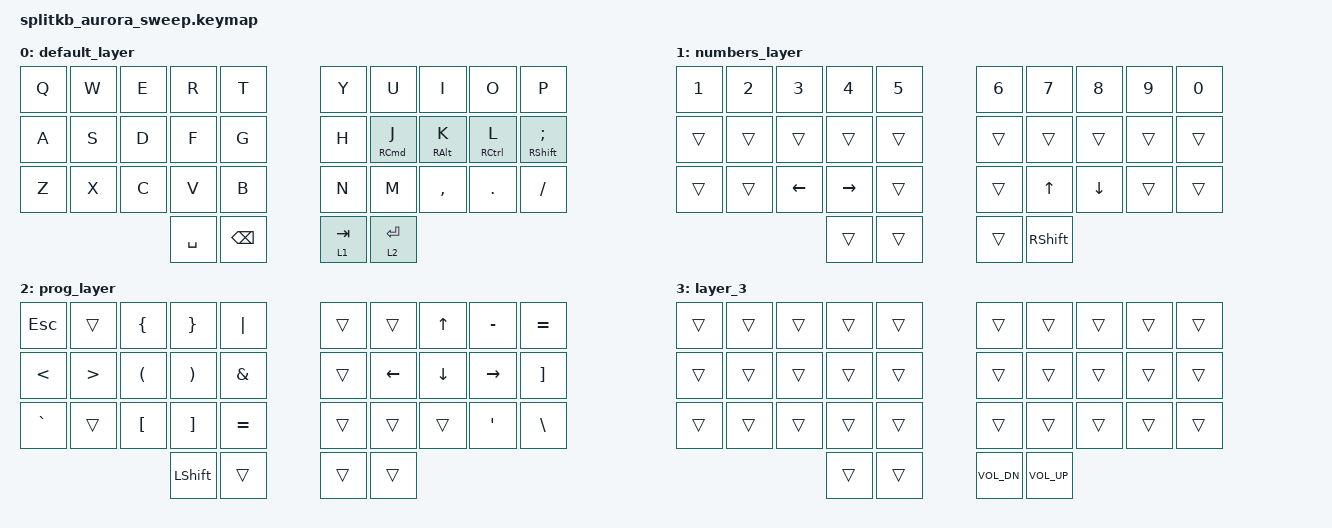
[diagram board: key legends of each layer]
/*
 * Copyright (c) 2022 The ZMK Contributors
 *
 * SPDX-License-Identifier: MIT
 */

#include <behaviors.dtsi>
#include <dt-bindings/zmk/keys.h>
#include <dt-bindings/zmk/keys.h>

&mt {
    //  flavor = "tap-preferred";
    // tapping-term-ms = <200>;

    tapping-term-ms = <500>;
};

/ {
    combos {
        compatible = "zmk,combos";

        combo_esc {
            timeout-ms = <50>;
            key-positions = <0 1>;
            bindings = <&kp ESC>;
        };

        combo_rcmd {
            timeout-ms = <50>;
            key-positions = <17 16>;
            bindings = <&kp RIGHT_COMMAND>;
        };

        combo_lcmd {
            timeout-ms = <50>;
            key-positions = <11 12>;
            bindings = <&kp LEFT_COMMAND>;
        };

        combo_loption {
            timeout-ms = <50>;
            key-positions = <12 13>;
            bindings = <&kp LEFT_ALT>;
        };

        combo_roption {
            timeout-ms = <50>;
            key-positions = <17 18>;
            bindings = <&kp RIGHT_ALT>;
        };

        combo_rcontrol {
            bindings = <&kp RIGHT_CONTROL>;
            key-positions = <18 19>;
        };

        combo_lcontrol {
            bindings = <&kp LEFT_CONTROL>;
            key-positions = <10 11>;
        };

        combo_lshift {
            bindings = <&kp LEFT_SHIFT>;
            key-positions = <20 21>;
        };

        combo_rshift {
            bindings = <&kp RIGHT_SHIFT>;
            key-positions = <29 28>;
        };

        combo_toggle1 {
            bindings = <&tog 1>;
            key-positions = <5 6>;
        };

        combo_layer2 {
            bindings = <&tog 0>;
            key-positions = <6 7>;
        };

        combo_raltcmd {
            bindings = <&kt RG(RIGHT_ALT)>;
            key-positions = <16 17 18>;
        };
    };

    keymap {
        compatible = "zmk,keymap";

        default_layer {
            bindings = <
&kp Q      &kp W          &kp E  &kp R  &kp T    &kp Y  &kp U                &kp I            &kp O        &kp P
&kp A      &kp S          &kp D  &kp F  &kp G    &kp H  &mt RIGHT_COMMAND J  &mt RIGHT_ALT K  &mt RCTRL L  &mt RIGHT_SHIFT SEMICOLON
&kp Z      &kp X          &kp C  &kp V  &kp B    &kp N  &kp M                &kp COMMA        &kp DOT      &kp SLASH
&kp SPACE  &kp BACKSPACE                                                                      &lt 1 TAB    &lt 2 RETURN
            >;
        };

        numbers_layer {
            bindings = <
&kp N1  &kp N2  &kp N3    &kp N4     &kp N5    &kp N6  &kp N7        &kp N8    &kp N9  &kp N0
&trans  &trans  &trans    &trans     &trans    &trans  &trans        &trans    &trans  &trans
&trans  &trans  &kp LEFT  &kp RIGHT  &trans    &trans  &kp UP_ARROW  &kp DOWN  &trans  &trans
&trans  &trans                                                                 &trans  &kp RIGHT_SHIFT
            >;
        };

        prog_layer {
            bindings = <
&kp ESCAPE      &trans            &kp LEFT_BRACE        &kp RIGHT_BRACE        &kp PIPE         &trans  &trans    &kp UP    &kp MINUS  &kp EQUAL
&kp LESS_THAN   &kp GREATER_THAN  &kp LEFT_PARENTHESIS  &kp RIGHT_PARENTHESIS  &kp AMPERSAND    &trans  &kp LEFT  &kp DOWN  &kp RIGHT  &kp RIGHT_BRACKET
&kp GRAVE       &trans            &kp LEFT_BRACKET      &kp RIGHT_BRACKET      &kp EQUAL        &trans  &trans    &trans    &kp SQT    &kp BACKSLASH
&kp LEFT_SHIFT  &trans                                                                                                      &trans     &trans
            >;
        };

        layer_3 {
            bindings = <
&trans  &trans  &trans  &trans  &trans    &trans  &trans  &trans  &trans        &trans
&trans  &trans  &trans  &trans  &trans    &trans  &trans  &trans  &trans        &trans
&trans  &trans  &trans  &trans  &trans    &trans  &trans  &trans  &trans        &trans
&trans  &trans                                                    &kp C_VOL_DN  &kp C_VOLUME_UP
            >;
        };
    };
};
